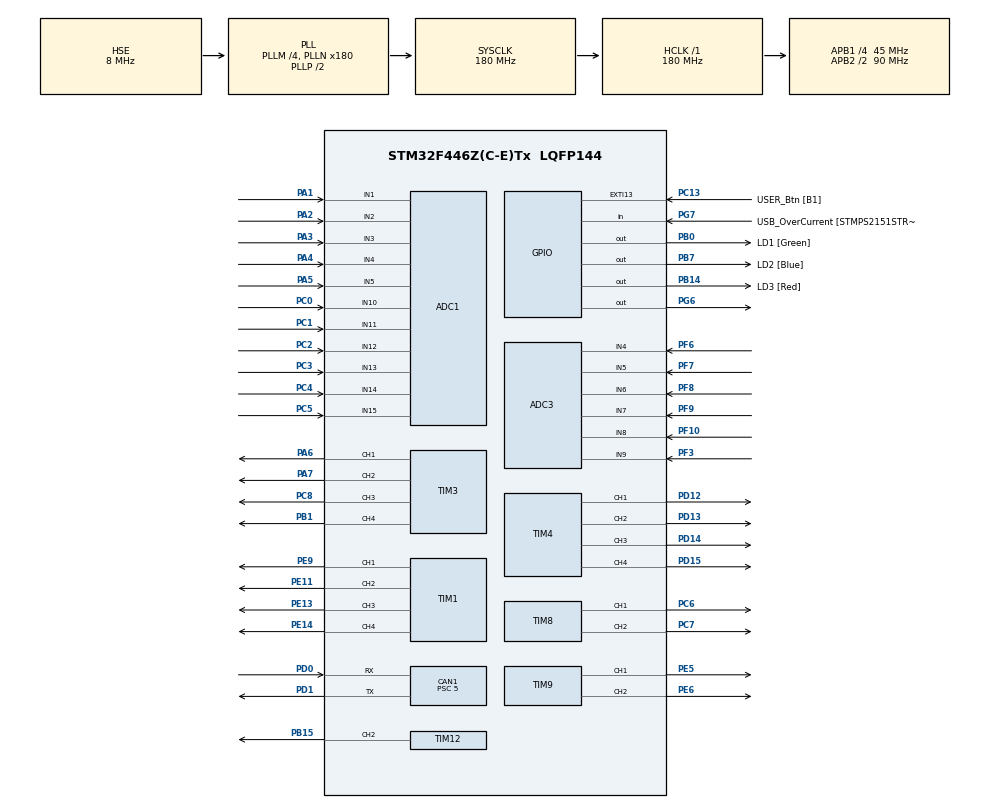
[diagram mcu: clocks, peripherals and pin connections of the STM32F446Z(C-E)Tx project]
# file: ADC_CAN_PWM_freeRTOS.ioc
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ADC1.Channel-1\#ChannelRegularConversion=ADC_CHANNEL_1
ADC1.Channel-10\#ChannelRegularConversion=ADC_CHANNEL_14
ADC1.Channel-11\#ChannelRegularConversion=ADC_CHANNEL_15
ADC1.Channel-2\#ChannelRegularConversion=ADC_CHANNEL_2
ADC1.Channel-3\#ChannelRegularConversion=ADC_CHANNEL_3
ADC1.Channel-4\#ChannelRegularConversion=ADC_CHANNEL_4
ADC1.Channel-5\#ChannelRegularConversion=ADC_CHANNEL_5
ADC1.Channel-6\#ChannelRegularConversion=ADC_CHANNEL_10
ADC1.Channel-7\#ChannelRegularConversion=ADC_CHANNEL_11
ADC1.Channel-8\#ChannelRegularConversion=ADC_CHANNEL_12
ADC1.Channel-9\#ChannelRegularConversion=ADC_CHANNEL_13
ADC1.ContinuousConvMode=ENABLE
ADC1.NbrOfConversion=11
ADC1.NbrOfConversionFlag=1
ADC1.Rank-1\#ChannelRegularConversion=1
ADC1.Rank-10\#ChannelRegularConversion=10
ADC1.Rank-11\#ChannelRegularConversion=11
ADC1.Rank-2\#ChannelRegularConversion=2
ADC1.Rank-3\#ChannelRegularConversion=3
ADC1.Rank-4\#ChannelRegularConversion=4
ADC1.Rank-5\#ChannelRegularConversion=5
ADC1.Rank-6\#ChannelRegularConversion=6
ADC1.Rank-7\#ChannelRegularConversion=7
ADC1.Rank-8\#ChannelRegularConversion=8
ADC1.Rank-9\#ChannelRegularConversion=9
ADC1.SamplingTime-1\#ChannelRegularConversion=ADC_SAMPLETIME_84CYCLES
ADC1.SamplingTime-10\#ChannelRegularConversion=ADC_SAMPLETIME_84CYCLES
ADC1.SamplingTime-11\#ChannelRegularConversion=ADC_SAMPLETIME_84CYCLES
ADC1.SamplingTime-2\#ChannelRegularConversion=ADC_SAMPLETIME_84CYCLES
ADC1.SamplingTime-3\#ChannelRegularConversion=ADC_SAMPLETIME_84CYCLES
ADC1.SamplingTime-4\#ChannelRegularConversion=ADC_SAMPLETIME_84CYCLES
ADC1.SamplingTime-5\#ChannelRegularConversion=ADC_SAMPLETIME_84CYCLES
ADC1.SamplingTime-6\#ChannelRegularConversion=ADC_SAMPLETIME_84CYCLES
ADC1.SamplingTime-7\#ChannelRegularConversion=ADC_SAMPLETIME_84CYCLES
ADC1.SamplingTime-8\#ChannelRegularConversion=ADC_SAMPLETIME_84CYCLES
ADC1.SamplingTime-9\#ChannelRegularConversion=ADC_SAMPLETIME_84CYCLES
ADC1.ScanConvMode=ENABLE
ADC1.master=1
ADC3.Channel-0\#ChannelRegularConversion=ADC_CHANNEL_4
ADC3.Channel-1\#ChannelRegularConversion=ADC_CHANNEL_5
ADC3.Channel-2\#ChannelRegularConversion=ADC_CHANNEL_6
ADC3.Channel-3\#ChannelRegularConversion=ADC_CHANNEL_7
ADC3.Channel-4\#ChannelRegularConversion=ADC_CHANNEL_8
ADC3.Channel-5\#ChannelRegularConversion=ADC_CHANNEL_9
ADC3.ContinuousConvMode=ENABLE
ADC3.NbrOfConversion=6
ADC3.NbrOfConversionFlag=1
ADC3.Rank-0\#ChannelRegularConversion=1
ADC3.Rank-1\#ChannelRegularConversion=2
ADC3.Rank-2\#ChannelRegularConversion=3
ADC3.Rank-3\#ChannelRegularConversion=4
ADC3.Rank-4\#ChannelRegularConversion=5
ADC3.Rank-5\#ChannelRegularConversion=6
ADC3.SamplingTime-0\#ChannelRegularConversion=ADC_SAMPLETIME_84CYCLES
ADC3.SamplingTime-1\#ChannelRegularConversion=ADC_SAMPLETIME_84CYCLES
ADC3.SamplingTime-2\#ChannelRegularConversion=ADC_SAMPLETIME_84CYCLES
ADC3.SamplingTime-3\#ChannelRegularConversion=ADC_SAMPLETIME_84CYCLES
ADC3.SamplingTime-4\#ChannelRegularConversion=ADC_SAMPLETIME_3CYCLES
ADC3.SamplingTime-5\#ChannelRegularConversion=ADC_SAMPLETIME_84CYCLES
ADC3.ScanConvMode=ENABLE
CAN1.ABOM=ENABLE
CAN1.BS1=CAN_BS1_15TQ
CAN1.BS2=CAN_BS2_2TQ
CAN1.CalculateBaudRate=500000
CAN1.CalculateTimeBit=2000
CAN1.CalculateTimeQuantum=111.11111111111111
CAN1.NART=ENABLE
CAN1.Prescaler=5
Mcu.Family=STM32F4
Mcu.Name=STM32F446Z(C-E)Tx
Mcu.Package=LQFP144
NVIC.CAN1_RX0_IRQn=true\:7\:0\:true\:false\:true\:true\:true\:true
NVIC.EXTI15_10_IRQn=true\:0\:0\:false\:false\:true\:true\:true\:true
NVIC.PriorityGroup=NVIC_PRIORITYGROUP_4
NVIC.TIM5_IRQn=true\:15\:0\:false\:false\:true\:false\:true\:true
NVIC.TimeBase=TIM5_IRQn
NVIC.TimeBaseIP=TIM5
PA1.Signal=ADCx_IN1
PA10.GPIO_Label=USB_ID
PA10.Signal=USB_OTG_FS_ID
PA11.GPIO_Label=USB_DM
PA11.Signal=USB_OTG_FS_DM
PA12.GPIO_Label=USB_DP
PA12.Signal=USB_OTG_FS_DP
PA13.GPIO_Label=TMS
PA13.Mode=Serial_Wire
PA13.Signal=SYS_JTMS-SWDIO
PA14.GPIO_Label=TCK
PA14.Mode=Serial_Wire
PA14.Signal=SYS_JTCK-SWCLK
PA2.Signal=ADCx_IN2
PA3.Signal=ADCx_IN3
PA4.Signal=ADCx_IN4
PA5.Signal=ADCx_IN5
PA6.Signal=S_TIM3_CH1
PA7.Signal=S_TIM3_CH2
PA8.GPIO_Label=USB_SOF [TP1]
PA8.Signal=USB_OTG_FS_SOF
PA9.GPIO_Label=USB_VBUS
PA9.Signal=USB_OTG_FS_VBUS
PB0.GPIO_Label=LD1 [Green]
PB0.Signal=GPIO_Output
PB1.Signal=S_TIM3_CH4
PB14.GPIO_Label=LD3 [Red]
PB14.Signal=GPIO_Output
PB15.Signal=S_TIM12_CH2
PB7.GPIO_Label=LD2 [Blue]
PB7.Signal=GPIO_Output
PC0.Signal=ADCx_IN10
PC1.Signal=ADCx_IN11
PC13.GPIO_Label=USER_Btn [B1]
PC13.Signal=GPXTI13
PC14-OSC32_IN.Signal=RCC_OSC32_IN
PC15-OSC32_OUT.Signal=RCC_OSC32_OUT
PC2.Signal=ADCx_IN12
PC3.Signal=ADCx_IN13
PC4.Signal=ADCx_IN14
PC5.Signal=ADCx_IN15
PC6.Signal=S_TIM8_CH1
PC7.Signal=S_TIM8_CH2
PC8.Signal=S_TIM3_CH3
PD0.GPIO_PuPd=GPIO_PULLUP
PD0.Mode=CAN_Activate
PD0.Signal=CAN1_RX
PD1.Mode=CAN_Activate
PD1.Signal=CAN1_TX
PD12.Signal=S_TIM4_CH1
PD13.Signal=S_TIM4_CH2
PD14.Signal=S_TIM4_CH3
PD15.Signal=S_TIM4_CH4
PD8.GPIO_Label=STLK_RX [STM32F103CBT6_PA3]
PD8.Signal=USART3_TX
PD9.GPIO_Label=STLK_TX [STM32F103CBT6_PA2]
PD9.Signal=USART3_RX
PE11.Signal=S_TIM1_CH2
PE13.Signal=S_TIM1_CH3
PE14.Signal=S_TIM1_CH4
PE5.Signal=S_TIM9_CH1
PE6.Signal=S_TIM9_CH2
PE9.Signal=S_TIM1_CH1
PF10.Mode=IN8
PF10.Signal=ADC3_IN8
PF3.Mode=IN9
PF3.Signal=ADC3_IN9
PF6.Mode=IN4
PF6.Signal=ADC3_IN4
PF7.Mode=IN5
PF7.Signal=ADC3_IN5
PF8.Mode=IN6
PF8.Signal=ADC3_IN6
PF9.Mode=IN7
PF9.Signal=ADC3_IN7
PG6.Signal=GPIO_Output
PG7.GPIO_Label=USB_OverCurrent [STMPS2151STR_FAULT]
PG7.Signal=GPIO_Input
PH0-OSC_IN.GPIO_Label=MCO [STM32F103CBT6_PA8]
PH0-OSC_IN.Mode=HSE-External-Oscillator
PH0-OSC_IN.Signal=RCC_OSC_IN
PH1-OSC_OUT.Mode=HSE-External-Oscillator
PH1-OSC_OUT.Signal=RCC_OSC_OUT
ProjectManager.HeapSize=0x200
ProjectManager.StackSize=0x400
ProjectManager.TargetToolchain=STM32CubeIDE
RCC.48MHZClocksFreq_Value=24000000
RCC.AHBFreq_Value=180000000
RCC.APB1CLKDivider=RCC_HCLK_DIV4
RCC.APB1Freq_Value=45000000
RCC.APB1TimFreq_Value=90000000
RCC.APB2CLKDivider=RCC_HCLK_DIV2
RCC.APB2Freq_Value=90000000
RCC.APB2TimFreq_Value=180000000
RCC.CortexFreq_Value=180000000
RCC.HCLKFreq_Value=180000000
RCC.HSE_VALUE=8000000
RCC.HSI_VALUE=16000000
RCC.LSE_VALUE=32768
RCC.PLLM=4
RCC.PLLMUL=RCC_PLL_MUL9
RCC.PLLN=180
RCC.PLLSourceVirtual=RCC_PLLSOURCE_HSE
RCC.PRESCALERUSB=RCC_USBCLKSOURCE_PLL_DIV1_5
RCC.SYSCLKFreq_VALUE=180000000
RCC.SYSCLKSource=RCC_SYSCLKSOURCE_PLLCLK
RCC.SYSCLKSourceVirtual=RCC_SYSCLKSOURCE_PLLCLK
RCC.USBFreq_Value=180000000
RCC.VCOOutputFreq_Value=360000000
SH.ADCx_IN1.0=ADC1_IN1,IN1
SH.ADCx_IN10.0=ADC1_IN10,IN10
SH.ADCx_IN11.0=ADC1_IN11,IN11
SH.ADCx_IN12.0=ADC1_IN12,IN12
SH.ADCx_IN13.0=ADC1_IN13,IN13
SH.ADCx_IN14.0=ADC1_IN14,IN14
SH.ADCx_IN15.0=ADC1_IN15,IN15
SH.ADCx_IN2.0=ADC1_IN2,IN2
SH.ADCx_IN3.0=ADC1_IN3,IN3
SH.ADCx_IN4.0=ADC1_IN4,IN4
SH.ADCx_IN5.0=ADC1_IN5,IN5
SH.S_TIM12_CH2.0=TIM12_CH2,PWM Generation2 CH2
SH.S_TIM1_CH1.0=TIM1_CH1,PWM Generation1 CH1
SH.S_TIM1_CH2.0=TIM1_CH2,PWM Generation2 CH2
SH.S_TIM1_CH3.0=TIM1_CH3,PWM Generation3 CH3
SH.S_TIM1_CH4.0=TIM1_CH4,PWM Generation4 CH4
SH.S_TIM3_CH1.0=TIM3_CH1,PWM Generation1 CH1
SH.S_TIM3_CH2.0=TIM3_CH2,PWM Generation2 CH2
SH.S_TIM3_CH3.0=TIM3_CH3,PWM Generation3 CH3
SH.S_TIM3_CH4.0=TIM3_CH4,PWM Generation4 CH4
SH.S_TIM4_CH1.0=TIM4_CH1,PWM Generation1 CH1
SH.S_TIM4_CH2.0=TIM4_CH2,PWM Generation2 CH2
SH.S_TIM4_CH3.0=TIM4_CH3,PWM Generation3 CH3
SH.S_TIM4_CH4.0=TIM4_CH4,PWM Generation4 CH4
SH.S_TIM8_CH1.0=TIM8_CH1,PWM Generation1 CH1
SH.S_TIM8_CH2.0=TIM8_CH2,PWM Generation2 CH2
SH.S_TIM9_CH1.0=TIM9_CH1,PWM Generation1 CH1
SH.S_TIM9_CH2.0=TIM9_CH2,PWM Generation2 CH2
TIM1.AutoReloadPreload=TIM_AUTORELOAD_PRELOAD_ENABLE
TIM1.Channel-PWM\ Generation1\ CH1=TIM_CHANNEL_1
TIM1.Channel-PWM\ Generation2\ CH2=TIM_CHANNEL_2
TIM1.Channel-PWM\ Generation3\ CH3=TIM_CHANNEL_3
TIM1.Channel-PWM\ Generation4\ CH4=TIM_CHANNEL_4
TIM1.TIM_MasterSlaveMode=TIM_MASTERSLAVEMODE_DISABLE
TIM12.Channel-PWM\ Generation2\ CH2=TIM_CHANNEL_2
TIM3.Channel-PWM\ Generation1\ CH1=TIM_CHANNEL_1
TIM3.Channel-PWM\ Generation2\ CH2=TIM_CHANNEL_2
TIM3.Channel-PWM\ Generation3\ CH3=TIM_CHANNEL_3
TIM3.Channel-PWM\ Generation4\ CH4=TIM_CHANNEL_4
TIM4.Channel-PWM\ Generation1\ CH1=TIM_CHANNEL_1
TIM4.Channel-PWM\ Generation2\ CH2=TIM_CHANNEL_2
TIM4.Channel-PWM\ Generation3\ CH3=TIM_CHANNEL_3
TIM4.Channel-PWM\ Generation4\ CH4=TIM_CHANNEL_4
TIM8.Channel-PWM\ Generation1\ CH1=TIM_CHANNEL_1
TIM8.Channel-PWM\ Generation2\ CH2=TIM_CHANNEL_2
TIM9.Channel-PWM\ Generation1\ CH1=TIM_CHANNEL_1
TIM9.Channel-PWM\ Generation2\ CH2=TIM_CHANNEL_2
VP_SYS_VS_tim5.Mode=TIM5
board=NUCLEO-F446ZE

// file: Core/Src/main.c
/* USER CODE BEGIN Header */
/**
  ******************************************************************************
  * @file           : main.c
  * @brief          : Main program body
  ******************************************************************************
  * @attention
  *
  * Copyright (c) 2023 STMicroelectronics.
  * All rights reserved.
  *
  * This software is licensed under terms that can be found in the LICENSE file
  * in the root directory of this software component.
  * If no LICENSE file comes with this software, it is provided AS-IS.
  *
  ******************************************************************************
  */
/* USER CODE END Header */
#include "main.h"

/* USER CODE BEGIN Includes */
#include <stdio.h>
#include "FreeRTOS.h"
#include "task.h"
/* USER CODE END Includes */

ADC_HandleTypeDef hadc1;
ADC_HandleTypeDef hadc3;

CAN_HandleTypeDef hcan1;

TIM_HandleTypeDef htim1;
TIM_HandleTypeDef htim3;
TIM_HandleTypeDef htim4;
TIM_HandleTypeDef htim8;
TIM_HandleTypeDef htim9;
TIM_HandleTypeDef htim12;

void SystemClock_Config(void);
static void MX_GPIO_Init(void);
static void MX_ADC1_Init(void);
static void MX_ADC3_Init(void);
static void MX_CAN1_Init(void);
static void MX_TIM1_Init(void);
static void MX_TIM3_Init(void);
static void MX_TIM4_Init(void);
static void MX_TIM8_Init(void);
static void MX_TIM9_Init(void);
static void MX_TIM12_Init(void);
/* USER CODE BEGIN PFP */
static void ADC_Task(void* parameter);
static void task1_handler(void* parameters);
static void LED_Task(void* parameters);
/* USER CODE END PFP */

/* USER CODE BEGIN 0 */

TaskHandle_t ADC_Handle;

uint16_t ADC_VAL[21];

float Voltage;

CAN_TxHeaderTypeDef TxHeader;
CAN_RxHeaderTypeDef RxHeader;

uint8_t TxData[8];
uint8_t RxData[8];

uint32_t TxMailbox;

int datacheck = 0;

uint8_t receivedopertion = 0;
uint8_t receivedID = 0;
TaskHandle_t ledHandle;

void HAL_GPIO_EXTI_Callback(uint16_t GPIO_Pin)
{
	printf("button pressed\n");
	if(GPIO_Pin == USER_Btn_Pin)
	{
		TxData[0]=250;
		TxData[1]=10;

		if(HAL_CAN_AddTxMessage(&hcan1, &TxHeader, TxData, &TxMailbox) != HAL_OK)
		{
			printf("msg NOT sent \n into the error_handler\n");
		    Error_Handler();
		}
		  HAL_GPIO_TogglePin(LD1_GPIO_Port, LD1_Pin);
		  HAL_GPIO_TogglePin(LD2_GPIO_Port, LD2_Pin);
		  HAL_GPIO_TogglePin(LD3_GPIO_Port, LD3_Pin);
		printf("msg sent\n");
	}
}

static void task1_handler(void* parameters)
{
    while (1)
    {
        if (HAL_GPIO_ReadPin(USER_Btn_GPIO_Port, USER_Btn_Pin) != GPIO_PIN_RESET)
        {
            HAL_GPIO_EXTI_Callback(USER_Btn_Pin);
        }
        vTaskDelay(pdMS_TO_TICKS(100)); // Delay the task for 100 milliseconds
    	taskYIELD();
    }
}

void HAL_CAN_RxFifo0MsgPendingCallback(CAN_HandleTypeDef *hcan)
{

    HAL_CAN_GetRxMessage(&hcan1, CAN_RX_FIFO0, &RxHeader, RxData);

    if (RxHeader.DLC == 8)
    {
    	receivedopertion = RxData[0];
    	receivedID = RxData[1];
    	BaseType_t xHigherPriorityTaskWoken = pdFALSE;
    	xTaskNotifyFromISR(ledHandle, 0, eNoAction, &xHigherPriorityTaskWoken);
    	portYIELD_FROM_ISR(xHigherPriorityTaskWoken);
    }
}

static void LED_Task(void* parameters)
{
    while (1)
    {
        ulTaskNotifyTake(pdTRUE, portMAX_DELAY);  // Wait for a notification

        printf("Task notified\n");

//      // Toggle LEDs based on receivedBlinkCount and receivedDelay
//        for (int i = 0; i < receivedBlinkCount; i++)
//        {
//            printf("Rxdata %d, %d\n", receivedDelay, receivedBlinkCount);
//            HAL_GPIO_TogglePin(LD1_GPIO_Port, LD1_Pin);
//            HAL_GPIO_TogglePin(LD2_GPIO_Port, LD2_Pin);
//            HAL_GPIO_TogglePin(LD3_GPIO_Port, LD3_Pin);
//            vTaskDelay(pdMS_TO_TICKS(receivedDelay));
//        }
        if(RxData[0] == 0x01)
        {
        	TxData[0] = 0;
        	TxData[1] = 0;
        	TxData[2] = (uint8_t) TIM1->CCR1;
        	TxData[3] = 0;
        	TxData[4] = 0;
        	TxData[5] = 0;
        	TxData[6] = 0x81;
        	TxData[7] = 0;
        	if(HAL_CAN_AddTxMessage(&hcan1, &TxHeader, TxData, &TxMailbox) != HAL_OK)
        	{
        		printf("msg NOT sent \n into the error_handler\n");
        		Error_Handler();
        	}
        	printf("Read req from CAN BUS (%d, %d, %d, %d, %d, %d, %d, %d)\n",TxData[0],TxData[1],TxData[2],TxData[3],TxData[4],TxData[5],TxData[6],TxData[7]);
        }

        else if (RxData[0] == 0x02)
        {
        	TxData[0] = RxData[0];
        	TxData[1] = RxData[1];
        	TxData[2] = RxData[2];
        	TxData[3] = RxData[3];
        	TxData[4] = RxData[4];
        	TxData[5] = RxData[5];
        	TxData[6] = 0x82;
        	TxData[7] = RxData[7];

        	printf("Write req from CAN BUS (%d, %d, %d, %d, %d, %d, %d, %d)\n",TxData[0],TxData[1],TxData[2],TxData[3],TxData[4],TxData[5],TxData[6],TxData[7]);

        	if(HAL_CAN_AddTxMessage(&hcan1, &TxHeader, TxData, &TxMailbox) != HAL_OK)
        	{
        		printf("msg NOT sent \n into the error_handler\n");
        		Error_Handler();
        	}
        }
        else
        {
        	printf("Operation does not match \n");
        }

    }
}

void CH_Select1(void)
{
	ADC_ChannelConfTypeDef sConfig = {0};
	  sConfig.Channel = ADC_CHANNEL_1;
	  sConfig.Rank = 1;
	  sConfig.SamplingTime = ADC_SAMPLETIME_84CYCLES;
    if (HAL_ADC_ConfigChannel(&hadc1, &sConfig) != HAL_OK)
    {
       Error_Handler();
    }
}
void CH_Select2(void)
{
	ADC_ChannelConfTypeDef sConfig = {0};
	  sConfig.Channel = ADC_CHANNEL_2;
	  sConfig.Rank = 1;
    if (HAL_ADC_ConfigChannel(&hadc1, &sConfig) != HAL_OK)
    {
       Error_Handler();
    }
}
void CH_Select3(void)
{
	ADC_ChannelConfTypeDef sConfig = {0};
	  sConfig.Channel = ADC_CHANNEL_3;
	  sConfig.Rank = 1;
    if (HAL_ADC_ConfigChannel(&hadc1, &sConfig) != HAL_OK)
    {
       Error_Handler();
    }
}
void CH_Select4(void)
{
	ADC_ChannelConfTypeDef sConfig = {0};
	  sConfig.Channel = ADC_CHANNEL_4;
	  sConfig.Rank = 1;
    if (HAL_ADC_ConfigChannel(&hadc1, &sConfig) != HAL_OK)
    {
       Error_Handler();
    }
}
void CH_Select5(void)
{
	ADC_ChannelConfTypeDef sConfig = {0};
	  sConfig.Channel = ADC_CHANNEL_5;
	  sConfig.Rank = 1;
    if (HAL_ADC_ConfigChannel(&hadc1, &sConfig) != HAL_OK)
    {
       Error_Handler();
    }
}
void CH_Select6(void)
{
	ADC_ChannelConfTypeDef sConfig = {0};
	  sConfig.Channel = ADC_CHANNEL_10;
	  sConfig.Rank = 1;
    if (HAL_ADC_ConfigChannel(&hadc1, &sConfig) != HAL_OK)
    {
       Error_Handler();
    }
}
void CH_Select7(void)
{
	ADC_ChannelConfTypeDef sConfig = {0};
	  sConfig.Channel = ADC_CHANNEL_11;
	  sConfig.Rank = 1;
    if (HAL_ADC_ConfigChannel(&hadc1, &sConfig) != HAL_OK)
    {
       Error_Handler();
    }
}
void CH_Select8(void)
{
	ADC_ChannelConfTypeDef sConfig = {0};
	sConfig.Channel = ADC_CHANNEL_12;
	  sConfig.Rank = 1;
    if (HAL_ADC_ConfigChannel(&hadc1, &sConfig) != HAL_OK)
    {
       Error_Handler();
    }
}
void CH_Select9(void)
{
	ADC_ChannelConfTypeDef sConfig = {0};
	  sConfig.Channel = ADC_CHANNEL_13;
	  sConfig.Rank = 1;
    if (HAL_ADC_ConfigChannel(&hadc1, &sConfig) != HAL_OK)
    {
       Error_Handler();
    }
}
void CH_Select10(void)
{
	ADC_ChannelConfTypeDef sConfig = {0};
	sConfig.Channel = ADC_CHANNEL_14;
	  sConfig.Rank = 1;
    if (HAL_ADC_ConfigChannel(&hadc1, &sConfig) != HAL_OK)
    {
       Error_Handler();
    }
}
void CH_Select11(void)
{
	ADC_ChannelConfTypeDef sConfig = {0};
	sConfig.Channel = ADC_CHANNEL_15;
		  sConfig.Rank = 1;
    if (HAL_ADC_ConfigChannel(&hadc1, &sConfig) != HAL_OK)
    {
       Error_Handler();
    }
}
void CH_Select12(void)
{
	ADC_ChannelConfTypeDef sConfig = {0};
	  sConfig.Channel = ADC_CHANNEL_4;
	  sConfig.Rank = 2;
	  sConfig.SamplingTime = ADC_SAMPLETIME_84CYCLES;
    if (HAL_ADC_ConfigChannel(&hadc3, &sConfig) != HAL_OK)
    {
       Error_Handler();
    }
}
void CH_Select13(void)
{
	ADC_ChannelConfTypeDef sConfig = {0};
	sConfig.Channel = ADC_CHANNEL_5;
	  sConfig.Rank = 2;

    if (HAL_ADC_ConfigChannel(&hadc3, &sConfig) != HAL_OK)
    {
       Error_Handler();
    }
}
void CH_Select14(void)
{
	ADC_ChannelConfTypeDef sConfig = {0};
	  sConfig.Channel = ADC_CHANNEL_6;
	  sConfig.Rank = 2;
    if (HAL_ADC_ConfigChannel(&hadc3, &sConfig) != HAL_OK)
    {
       Error_Handler();
    }
}
void CH_Select15(void)
{
	ADC_ChannelConfTypeDef sConfig = {0};
	sConfig.Channel = ADC_CHANNEL_7;
	  sConfig.Rank = 2;
    if (HAL_ADC_ConfigChannel(&hadc3, &sConfig) != HAL_OK)
    {
       Error_Handler();
    }
}
void CH_Select16(void)
{
	ADC_ChannelConfTypeDef sConfig = {0};
	 sConfig.Channel = ADC_CHANNEL_8;
	  sConfig.Rank = 2;
    if (HAL_ADC_ConfigChannel(&hadc3, &sConfig) != HAL_OK)
    {
       Error_Handler();
    }
}
void CH_Select17(void)
{
	ADC_ChannelConfTypeDef sConfig = {0};
	sConfig.Channel = ADC_CHANNEL_9;
	  sConfig.Rank = 2;
    if (HAL_ADC_ConfigChannel(&hadc3, &sConfig) != HAL_OK)
    {
       Error_Handler();
    }
}
//void CH_Select18(void)
//{
//	ADC_ChannelConfTypeDef sConfig = {0};
//    sConfig.Channel = ADC_CHANNEL_5;
//    sConfig.Rank = 2;
//    sConfig.SamplingTime = ADC_SAMPLETIME_84CYCLES;
//    if (HAL_ADC_ConfigChannel(&hadc3, &sConfig) != HAL_OK)
//    {
//       Error_Handler();
//    }
//}
//void CH_Select19(void)
//{
//	ADC_ChannelConfTypeDef sConfig = {0};
//    sConfig.Channel = ADC_CHANNEL_6;
//    sConfig.Rank = 2;
//    sConfig.SamplingTime = ADC_SAMPLETIME_84CYCLES;
//    if (HAL_ADC_ConfigChannel(&hadc3, &sConfig) != HAL_OK)
//    {
//       Error_Handler();
//    }
//}
//void CH_Select20(void)
//{
//	ADC_ChannelConfTypeDef sConfig = {0};
//    sConfig.Channel = ADC_CHANNEL_7;
//    sConfig.Rank = 2;
//    sConfig.SamplingTime = ADC_SAMPLETIME_84CYCLES;
//    if (HAL_ADC_ConfigChannel(&hadc3, &sConfig) != HAL_OK)
//    {
//       Error_Handler();
//    }
//}
//void CH_Select21(void)
//{
//	ADC_ChannelConfTypeDef sConfig = {0};
//    sConfig.Channel = ADC_CHANNEL_8;
//    sConfig.Rank = 2;
//    sConfig.SamplingTime = ADC_SAMPLETIME_84CYCLES;
//    if (HAL_ADC_ConfigChannel(&hadc3, &sConfig) != HAL_OK)
//    {
//       Error_Handler();
//    }
//}
//

static void ADC_Task(void* parameter)
{
	while(1)
	{
        CH_Select1();
        HAL_ADC_Start(&hadc1);
	 	HAL_ADC_PollForConversion(&hadc1,1000);
	 	ADC_VAL[0]=HAL_ADC_GetValue(&hadc1);
	 	vTaskDelay(pdMS_TO_TICKS(50));
	 	HAL_ADC_Stop(&hadc1);
	 	Voltage=(float)(ADC_VAL[0]*3.3)/4095;
	 	TIM1->CCR1=ADC_VAL[0];
	 	//vTaskDelay(pdMS_TO_TICKS(100));

        CH_Select2();
        HAL_ADC_Start(&hadc1);
	 	HAL_ADC_PollForConversion(&hadc1,10);
	 	ADC_VAL[1]=HAL_ADC_GetValue(&hadc1);
	 	vTaskDelay(pdMS_TO_TICKS(50));
	 	HAL_ADC_Stop(&hadc1);
	 	Voltage=(float)(ADC_VAL[1]*3.3)/4095;
	 	TIM1->CCR2=ADC_VAL[1];
	 	//vTaskDelay(pdMS_TO_TICKS(100));

        CH_Select3();
        HAL_ADC_Start(&hadc1);
	 	HAL_ADC_PollForConversion(&hadc1,10);
	 	ADC_VAL[2]=HAL_ADC_GetValue(&hadc1);
	 	vTaskDelay(pdMS_TO_TICKS(50));
	 	HAL_ADC_Stop(&hadc1);
	 	Voltage=(float)(ADC_VAL[2]*3.3)/4095;
	 	TIM1->CCR3=ADC_VAL[2];
	 	//vTaskDelay(pdMS_TO_TICKS(100));

        CH_Select4();
        HAL_ADC_Start(&hadc1);
	 	HAL_ADC_PollForConversion(&hadc1,10);
	 	ADC_VAL[3]=HAL_ADC_GetValue(&hadc1);
	 	vTaskDelay(pdMS_TO_TICKS(50));
	 	HAL_ADC_Stop(&hadc1);
	 	Voltage=(float)(ADC_VAL[3]*3.3)/4095;
	 	TIM1->CCR4=ADC_VAL[3];
	 	//vTaskDelay(pdMS_TO_TICKS(100));

        CH_Select5();
        HAL_ADC_Start(&hadc1);
        HAL_ADC_PollForConversion(&hadc1,10);
        ADC_VAL[4]=HAL_ADC_GetValue(&hadc1);
        vTaskDelay(pdMS_TO_TICKS(50));
        HAL_ADC_Stop(&hadc1);
        Voltage=(float)(ADC_VAL[4]*3.3)/4095;
        TIM3->CCR1=ADC_VAL[4];
	 	//vTaskDelay(pdMS_TO_TICKS(100));

	 	CH_Select6();
	 	HAL_ADC_Start(&hadc1);
	 	HAL_ADC_PollForConversion(&hadc1,10);
	 	ADC_VAL[5]=HAL_ADC_GetValue(&hadc1);
	 	vTaskDelay(pdMS_TO_TICKS(50));
	 	HAL_ADC_Stop(&hadc1);
	 	Voltage=(float)(ADC_VAL[5]*3.3)/4095;
	 	TIM3->CCR2=ADC_VAL[5];
        //vTaskDelay(pdMS_TO_TICKS(100));

        CH_Select7();
        HAL_ADC_Start(&hadc1);
        HAL_ADC_PollForConversion(&hadc1,10);
        ADC_VAL[6]=HAL_ADC_GetValue(&hadc1);
        vTaskDelay(pdMS_TO_TICKS(50));
        HAL_ADC_Stop(&hadc1);
        Voltage=(float)(ADC_VAL[6]*3.3)/4095;
        TIM3->CCR3=ADC_VAL[6];
	 	//vTaskDelay(pdMS_TO_TICKS(100));

        CH_Select8();
        HAL_ADC_Start(&hadc1);
	 	HAL_ADC_PollForConversion(&hadc1,10);
	 	ADC_VAL[7]=HAL_ADC_GetValue(&hadc1);
	 	vTaskDelay(pdMS_TO_TICKS(50));
	 	HAL_ADC_Stop(&hadc1);
	 	Voltage=(float)(ADC_VAL[7]*3.3)/4095;
	 	TIM3->CCR4=ADC_VAL[7];
	 	//vTaskDelay(pdMS_TO_TICKS(100));

        CH_Select9();
        HAL_ADC_Start(&hadc1);
	 	HAL_ADC_PollForConversion(&hadc1,10);
	 	ADC_VAL[8]=HAL_ADC_GetValue(&hadc1);
	 	vTaskDelay(pdMS_TO_TICKS(50));
	 	HAL_ADC_Stop(&hadc1);
	 	Voltage=(float)(ADC_VAL[8]*3.3)/4095;
	 	TIM4->CCR1=ADC_VAL[8];
	 	//vTaskDelay(pdMS_TO_TICKS(100));

        CH_Select10();
        HAL_ADC_Start(&hadc1);
	 	HAL_ADC_PollForConversion(&hadc1,10);
	 	ADC_VAL[9]=HAL_ADC_GetValue(&hadc1);
	 	vTaskDelay(pdMS_TO_TICKS(50));
	 	HAL_ADC_Stop(&hadc1);
	 	Voltage=(float)(ADC_VAL[9]*3.3)/4095;
	 	TIM4->CCR2=ADC_VAL[9];
	 	//vTaskDelay(pdMS_TO_TICKS(100));

        CH_Select11();
        HAL_ADC_Start(&hadc1);
		HAL_ADC_PollForConversion(&hadc1,10);
		ADC_VAL[10]=HAL_ADC_GetValue(&hadc1);
		vTaskDelay(pdMS_TO_TICKS(50));
		HAL_ADC_Stop(&hadc1);
		Voltage=(float)(ADC_VAL[10]*3.3)/4095;
	 	TIM4->CCR3=ADC_VAL[10];
	 	//vTaskDelay(pdMS_TO_TICKS(100));

        CH_Select12();
        HAL_ADC_Start(&hadc1);
	 	HAL_ADC_PollForConversion(&hadc1,10);
	 	ADC_VAL[11]=HAL_ADC_GetValue(&hadc1);
	 	vTaskDelay(pdMS_TO_TICKS(50));
	 	HAL_ADC_Stop(&hadc1);
	 	Voltage=(float)(ADC_VAL[11]*3.3)/4095;
	 	TIM4->CCR4=ADC_VAL[11];
	 	//vTaskDelay(pdMS_TO_TICKS(100));

        CH_Select13();
        HAL_ADC_Start(&hadc1);
	 	HAL_ADC_PollForConversion(&hadc1,10);
	 	ADC_VAL[12]=HAL_ADC_GetValue(&hadc1);
	 	vTaskDelay(pdMS_TO_TICKS(50));
	 	HAL_ADC_Stop(&hadc1);
	 	Voltage=(float)(ADC_VAL[12]*3.3)/4095;
	 	TIM8->CCR1=ADC_VAL[12];
	 	//vTaskDelay(pdMS_TO_TICKS(100));

        CH_Select14();
        HAL_ADC_Start(&hadc3);
	 	HAL_ADC_PollForConversion(&hadc3,10);
	 	ADC_VAL[13]=HAL_ADC_GetValue(&hadc3);
	 	vTaskDelay(pdMS_TO_TICKS(50));
	 	HAL_ADC_Stop(&hadc3);
	 	Voltage=(float)(ADC_VAL[13]*3.3)/4095;
	 	TIM8->CCR2=ADC_VAL[13];
	 	//vTaskDelay(pdMS_TO_TICKS(100));

        CH_Select15();
        HAL_ADC_Start(&hadc3);
	 	HAL_ADC_PollForConversion(&hadc3,10);
	 	ADC_VAL[14]=HAL_ADC_GetValue(&hadc3);
	 	vTaskDelay(pdMS_TO_TICKS(50));
	 	HAL_ADC_Stop(&hadc3);
	 	Voltage=(float)(ADC_VAL[14]*3.3)/4095;
	 	TIM9->CCR1=ADC_VAL[14];
	 	//vTaskDelay(pdMS_TO_TICKS(100));

        CH_Select16();
        HAL_ADC_Start(&hadc3);
	 	HAL_ADC_PollForConversion(&hadc3,1000);
	 	ADC_VAL[15]=HAL_ADC_GetValue(&hadc3);
	 	vTaskDelay(pdMS_TO_TICKS(50));
	 	HAL_ADC_Stop(&hadc3);
	 	Voltage=(float)(ADC_VAL[15]*3.3)/4095;
	 	TIM9->CCR2=ADC_VAL[15];
	 	//vTaskDelay(pdMS_TO_TICKS(100));

        CH_Select17();
        HAL_ADC_Start(&hadc3);
	 	HAL_ADC_PollForConversion(&hadc3,10);
	 	ADC_VAL[16]=HAL_ADC_GetValue(&hadc3);
	 	vTaskDelay(pdMS_TO_TICKS(50));
	 	HAL_ADC_Stop(&hadc3);
	 	Voltage=(float)(ADC_VAL[16]*3.3)/4095;
	 	TIM12->CCR2=ADC_VAL[16];
	 	//vTaskDelay(pdMS_TO_TICKS(100));
//
//        CH_Select18();
//        HAL_ADC_Start(&hadc3);
//	 	HAL_ADC_PollForConversion(&hadc3,10);
//	 	ADC_VAL[17]=HAL_ADC_GetValue(&hadc3);
//	 	vTaskDelay(pdMS_TO_TICKS(50));
//	 	HAL_ADC_Stop(&hadc3);
//	 	Voltage=(float)(ADC_VAL[17]*3.3)/4095;
//	 	//vTaskDelay(pdMS_TO_TICKS(100));
//
//	 	CH_Select19();
//		HAL_ADC_Start(&hadc3);
//		HAL_ADC_PollForConversion(&hadc3,10);
//		ADC_VAL[18]=HAL_ADC_GetValue(&hadc3);
//		vTaskDelay(pdMS_TO_TICKS(50));
//		HAL_ADC_Stop(&hadc3);
//		Voltage=(float)(ADC_VAL[18]*3.3)/4095;
//
//        CH_Select20();
//        HAL_ADC_Start(&hadc3);
//	 	HAL_ADC_PollForConversion(&hadc3,10);
//	 	ADC_VAL[19]=HAL_ADC_GetValue(&hadc3);
//	 	vTaskDelay(pdMS_TO_TICKS(50));
//	 	HAL_ADC_Stop(&hadc3);
//	 	Voltage=(float)(ADC_VAL[19]*3.3)/4095;
//
//        CH_Select21();
//        HAL_ADC_Start(&hadc3);
//	 	HAL_ADC_PollForConversion(&hadc3,10);
//	 	ADC_VAL[20]=HAL_ADC_GetValue(&hadc3);
//	 	vTaskDelay(pdMS_TO_TICKS(50));
//	 	HAL_ADC_Stop(&hadc3);
//	 	Voltage=(float)(ADC_VAL[20]*3.3)/4095;
//	 	vTaskDelay(pdMS_TO_TICKS(100));
	}
}

/* USER CODE END 0 */

int main(void)
{
  /* USER CODE BEGIN 1 */

	BaseType_t status;

	TaskHandle_t task1_handle;

  /* USER CODE END 1 */

  /* MCU Configuration--------------------------------------------------------*/

  /* Reset of all peripherals, Initializes the Flash interface and the Systick. */
  HAL_Init();

  /* Configure the system clock */
  SystemClock_Config();

  /* Initialize all configured peripherals */
  MX_GPIO_Init();
  MX_ADC1_Init();
  MX_ADC3_Init();
  MX_CAN1_Init();
  MX_TIM1_Init();
  MX_TIM3_Init();
  MX_TIM4_Init();
  MX_TIM8_Init();
  MX_TIM9_Init();
  MX_TIM12_Init();
  /* USER CODE BEGIN 2 */

  HAL_TIM_PWM_Start(&htim1,TIM_CHANNEL_1);
  TIM1->CCR1=ADC_VAL[0];
  HAL_TIM_PWM_Start(&htim1,TIM_CHANNEL_2);
  TIM1->CCR2=ADC_VAL[1];
  HAL_TIM_PWM_Start(&htim1,TIM_CHANNEL_3);
  TIM1->CCR3=ADC_VAL[2];
  HAL_TIM_PWM_Start(&htim1,TIM_CHANNEL_4);
  TIM1->CCR4=ADC_VAL[3];
  /*       __________________________________________________________________     */

  HAL_TIM_PWM_Start(&htim3,TIM_CHANNEL_1);
  TIM3->CCR1=ADC_VAL[4];
  HAL_TIM_PWM_Start(&htim3,TIM_CHANNEL_2);
  TIM3->CCR2=ADC_VAL[5];
  HAL_TIM_PWM_Start(&htim3,TIM_CHANNEL_3);
  TIM3->CCR3=ADC_VAL[6];
  HAL_TIM_PWM_Start(&htim3,TIM_CHANNEL_4);
  TIM3->CCR4=ADC_VAL[7];
  /*       __________________________________________________________________     */

  HAL_TIM_PWM_Start(&htim4,TIM_CHANNEL_1);
  TIM4->CCR1=ADC_VAL[8];
  HAL_TIM_PWM_Start(&htim4,TIM_CHANNEL_2);
  TIM4->CCR2=ADC_VAL[9];
  HAL_TIM_PWM_Start(&htim4,TIM_CHANNEL_3);
  TIM4->CCR3=ADC_VAL[10];
  HAL_TIM_PWM_Start(&htim4,TIM_CHANNEL_4);
  TIM4->CCR4=ADC_VAL[11];
  /*       __________________________________________________________________     */

  HAL_TIM_PWM_Start(&htim8,TIM_CHANNEL_1);
  TIM8->CCR1=ADC_VAL[12];
  HAL_TIM_PWM_Start(&htim8,TIM_CHANNEL_2);
  TIM8->CCR2=ADC_VAL[13];
  /*       __________________________________________________________________     */
  HAL_TIM_PWM_Start(&htim9,TIM_CHANNEL_1);
  TIM9->CCR1=ADC_VAL[14];
  HAL_TIM_PWM_Start(&htim9,TIM_CHANNEL_2);
  TIM9->CCR2=ADC_VAL[15];
  HAL_TIM_PWM_Start(&htim12,TIM_CHANNEL_2);
  TIM12->CCR2=ADC_VAL[16];

  if(HAL_CAN_Start(&hcan1) != HAL_OK)
  {
	  Error_Handler();
  }

  if(HAL_CAN_ActivateNotification(&hcan1, CAN_IT_RX_FIFO0_MSG_PENDING) != HAL_OK)
  {
	  Error_Handler();
  }

  TxHeader.DLC = 8;
  TxHeader.IDE = CAN_ID_STD;
  TxHeader.RTR = CAN_RTR_DATA;
  TxHeader.StdId = 0x446;

  status = xTaskCreate(ADC_Task, "Task-ADC", 200, NULL, 2, &ADC_Handle);

  configASSERT(status == pdPASS);

  status = xTaskCreate(task1_handler, "Task-1", 200, NULL, 2, &task1_handle);

  configASSERT(status == pdPASS);

  status = xTaskCreate(LED_Task, "LED_Task", 200, NULL, 2, &ledHandle);

  configASSERT(status == pdPASS);

  vTaskStartScheduler();

  /* USER CODE END 2 */

  /* Infinite loop */
  while (1)
  {

  }
}

void SystemClock_Config(void)
{
  RCC_OscInitTypeDef RCC_OscInitStruct = {0};
  RCC_ClkInitTypeDef RCC_ClkInitStruct = {0};

  /** Configure the main internal regulator output voltage
  */
  __HAL_RCC_PWR_CLK_ENABLE();
  __HAL_PWR_VOLTAGESCALING_CONFIG(PWR_REGULATOR_VOLTAGE_SCALE1);

  /** Initializes the RCC Oscillators according to the specified parameters
  * in the RCC_OscInitTypeDef structure.
  */
  RCC_OscInitStruct.OscillatorType = RCC_OSCILLATORTYPE_HSE;
  RCC_OscInitStruct.HSEState = RCC_HSE_ON;
  RCC_OscInitStruct.PLL.PLLState = RCC_PLL_ON;
  RCC_OscInitStruct.PLL.PLLSource = RCC_PLLSOURCE_HSE;
  RCC_OscInitStruct.PLL.PLLM = 4;
  RCC_OscInitStruct.PLL.PLLN = 180;
  RCC_OscInitStruct.PLL.PLLP = RCC_PLLP_DIV2;
  RCC_OscInitStruct.PLL.PLLQ = 2;
  RCC_OscInitStruct.PLL.PLLR = 2;
  if (HAL_RCC_OscConfig(&RCC_OscInitStruct) != HAL_OK)
  {
    Error_Handler();
  }

  /** Activate the Over-Drive mode
  */
  if (HAL_PWREx_EnableOverDrive() != HAL_OK)
  {
    Error_Handler();
  }

  /** Initializes the CPU, AHB and APB buses clocks
  */
  RCC_ClkInitStruct.ClockType = RCC_CLOCKTYPE_HCLK|RCC_CLOCKTYPE_SYSCLK
                              |RCC_CLOCKTYPE_PCLK1|RCC_CLOCKTYPE_PCLK2;
  RCC_ClkInitStruct.SYSCLKSource = RCC_SYSCLKSOURCE_PLLCLK;
  RCC_ClkInitStruct.AHBCLKDivider = RCC_SYSCLK_DIV1;
  RCC_ClkInitStruct.APB1CLKDivider = RCC_HCLK_DIV4;
  RCC_ClkInitStruct.APB2CLKDivider = RCC_HCLK_DIV2;

  if (HAL_RCC_ClockConfig(&RCC_ClkInitStruct, FLASH_LATENCY_5) != HAL_OK)
  {
    Error_Handler();
  }
}

static void MX_ADC1_Init(void)
{

  ADC_ChannelConfTypeDef sConfig = {0};

  /** Configure the global features of the ADC (Clock, Resolution, Data Alignment and number of conversion)
  */
  hadc1.Instance = ADC1;
  hadc1.Init.ClockPrescaler = ADC_CLOCK_SYNC_PCLK_DIV4;
  hadc1.Init.Resolution = ADC_RESOLUTION_12B;
  hadc1.Init.ScanConvMode = ENABLE;
  hadc1.Init.ContinuousConvMode = ENABLE;
  hadc1.Init.DiscontinuousConvMode = DISABLE;
  hadc1.Init.ExternalTrigConvEdge = ADC_EXTERNALTRIGCONVEDGE_NONE;
  hadc1.Init.ExternalTrigConv = ADC_SOFTWARE_START;
  hadc1.Init.DataAlign = ADC_DATAALIGN_RIGHT;
  hadc1.Init.NbrOfConversion = 11;
  hadc1.Init.DMAContinuousRequests = DISABLE;
  hadc1.Init.EOCSelection = ADC_EOC_SINGLE_CONV;
  if (HAL_ADC_Init(&hadc1) != HAL_OK)
  {
    Error_Handler();
  }

  /** Configure for the selected ADC regular channel its corresponding rank in the sequencer and its sample time.
  */
//  sConfig.Channel = ADC_CHANNEL_1;
//  sConfig.Rank = 1;
//  sConfig.SamplingTime = ADC_SAMPLETIME_84CYCLES;
//  if (HAL_ADC_ConfigChannel(&hadc1, &sConfig) != HAL_OK)
//  {
//    Error_Handler();
//  }
//
//  /** Configure for the selected ADC regular channel its corresponding rank in the sequencer and its sample time.
//  */
//  sConfig.Channel = ADC_CHANNEL_2;
//  sConfig.Rank = 2;
//  if (HAL_ADC_ConfigChannel(&hadc1, &sConfig) != HAL_OK)
//  {
//    Error_Handler();
//  }
//
//  /** Configure for the selected ADC regular channel its corresponding rank in the sequencer and its sample time.
//  */
//  sConfig.Channel = ADC_CHANNEL_3;
//  sConfig.Rank = 3;
//  if (HAL_ADC_ConfigChannel(&hadc1, &sConfig) != HAL_OK)
//  {
//    Error_Handler();
//  }
//
//  /** Configure for the selected ADC regular channel its corresponding rank in the sequencer and its sample time.
//  */
//  sConfig.Channel = ADC_CHANNEL_4;
//  sConfig.Rank = 4;
//  if (HAL_ADC_ConfigChannel(&hadc1, &sConfig) != HAL_OK)
//  {
//    Error_Handler();
//  }
//
//  /** Configure for the selected ADC regular channel its corresponding rank in the sequencer and its sample time.
//  */
//  sConfig.Channel = ADC_CHANNEL_5;
//  sConfig.Rank = 5;
//  if (HAL_ADC_ConfigChannel(&hadc1, &sConfig) != HAL_OK)
//  {
//    Error_Handler();
//  }
//
//  /** Configure for the selected ADC regular channel its corresponding rank in the sequencer and its sample time.
//  */
//  sConfig.Channel = ADC_CHANNEL_10;
//  sConfig.Rank = 6;
//  if (HAL_ADC_ConfigChannel(&hadc1, &sConfig) != HAL_OK)
//  {
//    Error_Handler();
//  }
//
//  /** Configure for the selected ADC regular channel its corresponding rank in the sequencer and its sample time.
//  */
//  sConfig.Channel = ADC_CHANNEL_11;
//  sConfig.Rank = 7;
//  if (HAL_ADC_ConfigChannel(&hadc1, &sConfig) != HAL_OK)
//  {
//    Error_Handler();
//  }
//
//  /** Configure for the selected ADC regular channel its corresponding rank in the sequencer and its sample time.
//  */
//  sConfig.Channel = ADC_CHANNEL_12;
//  sConfig.Rank = 8;
//  if (HAL_ADC_ConfigChannel(&hadc1, &sConfig) != HAL_OK)
//  {
//    Error_Handler();
//  }
//
//  /** Configure for the selected ADC regular channel its corresponding rank in the sequencer and its sample time.
//  */
//  sConfig.Channel = ADC_CHANNEL_13;
//  sConfig.Rank = 9;
//  if (HAL_ADC_ConfigChannel(&hadc1, &sConfig) != HAL_OK)
//  {
//    Error_Handler();
//  }
//
//  /** Configure for the selected ADC regular channel its corresponding rank in the sequencer and its sample time.
//  */
//  sConfig.Channel = ADC_CHANNEL_14;
//  sConfig.Rank = 10;
//  if (HAL_ADC_ConfigChannel(&hadc1, &sConfig) != HAL_OK)
//  {
//    Error_Handler();
//  }
//
//  /** Configure for the selected ADC regular channel its corresponding rank in the sequencer and its sample time.
//  */
//  sConfig.Channel = ADC_CHANNEL_15;
//  sConfig.Rank = 11;
//  if (HAL_ADC_ConfigChannel(&hadc1, &sConfig) != HAL_OK)
//  {
//    Error_Handler();
//  }

}

static void MX_ADC3_Init(void)
{

  ADC_ChannelConfTypeDef sConfig = {0};

  /** Configure the global features of the ADC (Clock, Resolution, Data Alignment and number of conversion)
  */
  hadc3.Instance = ADC3;
  hadc3.Init.ClockPrescaler = ADC_CLOCK_SYNC_PCLK_DIV4;
  hadc3.Init.Resolution = ADC_RESOLUTION_12B;
  hadc3.Init.ScanConvMode = ENABLE;
  hadc3.Init.ContinuousConvMode = ENABLE;
  hadc3.Init.DiscontinuousConvMode = DISABLE;
  hadc3.Init.ExternalTrigConvEdge = ADC_EXTERNALTRIGCONVEDGE_NONE;
  hadc3.Init.ExternalTrigConv = ADC_SOFTWARE_START;
  hadc3.Init.DataAlign = ADC_DATAALIGN_RIGHT;
  hadc3.Init.NbrOfConversion = 6;
  hadc3.Init.DMAContinuousRequests = DISABLE;
  hadc3.Init.EOCSelection = ADC_EOC_SINGLE_CONV;
  if (HAL_ADC_Init(&hadc3) != HAL_OK)
  {
    Error_Handler();
  }
//
//  /** Configure for the selected ADC regular channel its corresponding rank in the sequencer and its sample time.
//  */
//  sConfig.Channel = ADC_CHANNEL_4;
//  sConfig.Rank = 1;
//  sConfig.SamplingTime = ADC_SAMPLETIME_84CYCLES;
//  if (HAL_ADC_ConfigChannel(&hadc3, &sConfig) != HAL_OK)
//  {
//    Error_Handler();
//  }
//
//  /** Configure for the selected ADC regular channel its corresponding rank in the sequencer and its sample time.
//  */
//  sConfig.Channel = ADC_CHANNEL_5;
//  sConfig.Rank = 2;
//  if (HAL_ADC_ConfigChannel(&hadc3, &sConfig) != HAL_OK)
//  {
//    Error_Handler();
//  }
//
//  /** Configure for the selected ADC regular channel its corresponding rank in the sequencer and its sample time.
//  */
//  sConfig.Channel = ADC_CHANNEL_6;
//  sConfig.Rank = 3;
//  if (HAL_ADC_ConfigChannel(&hadc3, &sConfig) != HAL_OK)
//  {
//    Error_Handler();
//  }
//
//  /** Configure for the selected ADC regular channel its corresponding rank in the sequencer and its sample time.
//  */
//  sConfig.Channel = ADC_CHANNEL_7;
//  sConfig.Rank = 4;
//  if (HAL_ADC_ConfigChannel(&hadc3, &sConfig) != HAL_OK)
//  {
//    Error_Handler();
//  }
//
//  /** Configure for the selected ADC regular channel its corresponding rank in the sequencer and its sample time.
//  */
//  sConfig.Channel = ADC_CHANNEL_8;
//  sConfig.Rank = 5;
//  sConfig.SamplingTime = ADC_SAMPLETIME_3CYCLES;
//  if (HAL_ADC_ConfigChannel(&hadc3, &sConfig) != HAL_OK)
//  {
//    Error_Handler();
//  }
//
//  /** Configure for the selected ADC regular channel its corresponding rank in the sequencer and its sample time.
//  */
//  sConfig.Channel = ADC_CHANNEL_9;
//  sConfig.Rank = 6;
//  sConfig.SamplingTime = ADC_SAMPLETIME_84CYCLES;
//  if (HAL_ADC_ConfigChannel(&hadc3, &sConfig) != HAL_OK)
//  {
//    Error_Handler();
//  }

}

static void MX_CAN1_Init(void)
{

  hcan1.Instance = CAN1;
  hcan1.Init.Prescaler = 5;
  hcan1.Init.Mode = CAN_MODE_NORMAL;
  hcan1.Init.SyncJumpWidth = CAN_SJW_1TQ;
  hcan1.Init.TimeSeg1 = CAN_BS1_15TQ;
  hcan1.Init.TimeSeg2 = CAN_BS2_2TQ;
  hcan1.Init.TimeTriggeredMode = DISABLE;
  hcan1.Init.AutoBusOff = ENABLE;
  hcan1.Init.AutoWakeUp = DISABLE;
  hcan1.Init.AutoRetransmission = ENABLE;
  hcan1.Init.ReceiveFifoLocked = DISABLE;
  hcan1.Init.TransmitFifoPriority = DISABLE;
  if (HAL_CAN_Init(&hcan1) != HAL_OK)
  {
    Error_Handler();
  }
  /* USER CODE BEGIN CAN1_Init 2 */

  CAN_FilterTypeDef filter;

      filter.FilterActivation = CAN_FILTER_ENABLE;
      filter.FilterBank = 0;//18;
      filter.FilterFIFOAssignment = CAN_FILTER_FIFO0;
      filter.FilterIdHigh = 0x0000;//0x103<<5;
      filter.FilterIdLow = 0x0000;
      filter.FilterMaskIdHigh = 0x0000;//0x103<<5;
      filter.FilterMaskIdLow = 0x0000;
      filter.FilterMode = CAN_FILTERMODE_IDMASK;
      filter.FilterScale = CAN_FILTERSCALE_32BIT;
      filter.SlaveStartFilterBank = 0;//20;

      if(HAL_CAN_ConfigFilter(&hcan1, &filter) != HAL_OK)
      {
    	  Error_Handler();
      }

  /* USER CODE END CAN1_Init 2 */

}

static void MX_TIM1_Init(void)
{

  TIM_MasterConfigTypeDef sMasterConfig = {0};
  TIM_OC_InitTypeDef sConfigOC = {0};
  TIM_BreakDeadTimeConfigTypeDef sBreakDeadTimeConfig = {0};

  htim1.Instance = TIM1;
  htim1.Init.Prescaler = 0;
  htim1.Init.CounterMode = TIM_COUNTERMODE_UP;
  htim1.Init.Period = 65535;
  htim1.Init.ClockDivision = TIM_CLOCKDIVISION_DIV1;
  htim1.Init.RepetitionCounter = 0;
  htim1.Init.AutoReloadPreload = TIM_AUTORELOAD_PRELOAD_ENABLE;
  if (HAL_TIM_PWM_Init(&htim1) != HAL_OK)
  {
    Error_Handler();
  }
  sMasterConfig.MasterOutputTrigger = TIM_TRGO_RESET;
  sMasterConfig.MasterSlaveMode = TIM_MASTERSLAVEMODE_DISABLE;
  if (HAL_TIMEx_MasterConfigSynchronization(&htim1, &sMasterConfig) != HAL_OK)
  {
    Error_Handler();
  }
  sConfigOC.OCMode = TIM_OCMODE_PWM1;
  sConfigOC.Pulse = 0;
  sConfigOC.OCPolarity = TIM_OCPOLARITY_HIGH;
  sConfigOC.OCNPolarity = TIM_OCNPOLARITY_HIGH;
  sConfigOC.OCFastMode = TIM_OCFAST_DISABLE;
  sConfigOC.OCIdleState = TIM_OCIDLESTATE_RESET;
  sConfigOC.OCNIdleState = TIM_OCNIDLESTATE_RESET;
  if (HAL_TIM_PWM_ConfigChannel(&htim1, &sConfigOC, TIM_CHANNEL_1) != HAL_OK)
  {
    Error_Handler();
  }
  if (HAL_TIM_PWM_ConfigChannel(&htim1, &sConfigOC, TIM_CHANNEL_2) != HAL_OK)
  {
    Error_Handler();
  }
  if (HAL_TIM_PWM_ConfigChannel(&htim1, &sConfigOC, TIM_CHANNEL_3) != HAL_OK)
  {
    Error_Handler();
  }
  if (HAL_TIM_PWM_ConfigChannel(&htim1, &sConfigOC, TIM_CHANNEL_4) != HAL_OK)
  {
    Error_Handler();
  }
  sBreakDeadTimeConfig.OffStateRunMode = TIM_OSSR_DISABLE;
  sBreakDeadTimeConfig.OffStateIDLEMode = TIM_OSSI_DISABLE;
  sBreakDeadTimeConfig.LockLevel = TIM_LOCKLEVEL_OFF;
  sBreakDeadTimeConfig.DeadTime = 0;
  sBreakDeadTimeConfig.BreakState = TIM_BREAK_DISABLE;
  sBreakDeadTimeConfig.BreakPolarity = TIM_BREAKPOLARITY_HIGH;
  sBreakDeadTimeConfig.AutomaticOutput = TIM_AUTOMATICOUTPUT_DISABLE;
  if (HAL_TIMEx_ConfigBreakDeadTime(&htim1, &sBreakDeadTimeConfig) != HAL_OK)
  {
    Error_Handler();
  }
  HAL_TIM_MspPostInit(&htim1);

}

static void MX_TIM3_Init(void)
{

  TIM_MasterConfigTypeDef sMasterConfig = {0};
  TIM_OC_InitTypeDef sConfigOC = {0};

  htim3.Instance = TIM3;
  htim3.Init.Prescaler = 0;
  htim3.Init.CounterMode = TIM_COUNTERMODE_UP;
  htim3.Init.Period = 65535;
  htim3.Init.ClockDivision = TIM_CLOCKDIVISION_DIV1;
  htim3.Init.AutoReloadPreload = TIM_AUTORELOAD_PRELOAD_DISABLE;
  if (HAL_TIM_PWM_Init(&htim3) != HAL_OK)
  {
    Error_Handler();
  }
  sMasterConfig.MasterOutputTrigger = TIM_TRGO_RESET;
  sMasterConfig.MasterSlaveMode = TIM_MASTERSLAVEMODE_DISABLE;
  if (HAL_TIMEx_MasterConfigSynchronization(&htim3, &sMasterConfig) != HAL_OK)
  {
    Error_Handler();
  }
  sConfigOC.OCMode = TIM_OCMODE_PWM1;
  sConfigOC.Pulse = 0;
  sConfigOC.OCPolarity = TIM_OCPOLARITY_HIGH;
  sConfigOC.OCFastMode = TIM_OCFAST_DISABLE;
  if (HAL_TIM_PWM_ConfigChannel(&htim3, &sConfigOC, TIM_CHANNEL_1) != HAL_OK)
  {
    Error_Handler();
  }
  if (HAL_TIM_PWM_ConfigChannel(&htim3, &sConfigOC, TIM_CHANNEL_2) != HAL_OK)
  {
    Error_Handler();
  }
  if (HAL_TIM_PWM_ConfigChannel(&htim3, &sConfigOC, TIM_CHANNEL_3) != HAL_OK)
  {
    Error_Handler();
  }
  if (HAL_TIM_PWM_ConfigChannel(&htim3, &sConfigOC, TIM_CHANNEL_4) != HAL_OK)
  {
    Error_Handler();
  }
  HAL_TIM_MspPostInit(&htim3);

}

static void MX_TIM4_Init(void)
{

  TIM_MasterConfigTypeDef sMasterConfig = {0};
  TIM_OC_InitTypeDef sConfigOC = {0};

  htim4.Instance = TIM4;
  htim4.Init.Prescaler = 0;
  htim4.Init.CounterMode = TIM_COUNTERMODE_UP;
  htim4.Init.Period = 65535;
  htim4.Init.ClockDivision = TIM_CLOCKDIVISION_DIV1;
  htim4.Init.AutoReloadPreload = TIM_AUTORELOAD_PRELOAD_DISABLE;
  if (HAL_TIM_PWM_Init(&htim4) != HAL_OK)
  {
    Error_Handler();
  }
  sMasterConfig.MasterOutputTrigger = TIM_TRGO_RESET;
  sMasterConfig.MasterSlaveMode = TIM_MASTERSLAVEMODE_DISABLE;
  if (HAL_TIMEx_MasterConfigSynchronization(&htim4, &sMasterConfig) != HAL_OK)
  {
    Error_Handler();
  }
  sConfigOC.OCMode = TIM_OCMODE_PWM1;
  sConfigOC.Pulse = 0;
  sConfigOC.OCPolarity = TIM_OCPOLARITY_HIGH;
  sConfigOC.OCFastMode = TIM_OCFAST_DISABLE;
  if (HAL_TIM_PWM_ConfigChannel(&htim4, &sConfigOC, TIM_CHANNEL_1) != HAL_OK)
  {
    Error_Handler();
  }
  if (HAL_TIM_PWM_ConfigChannel(&htim4, &sConfigOC, TIM_CHANNEL_2) != HAL_OK)
  {
    Error_Handler();
  }
  if (HAL_TIM_PWM_ConfigChannel(&htim4, &sConfigOC, TIM_CHANNEL_3) != HAL_OK)
  {
    Error_Handler();
  }
  if (HAL_TIM_PWM_ConfigChannel(&htim4, &sConfigOC, TIM_CHANNEL_4) != HAL_OK)
  {
    Error_Handler();
  }
  HAL_TIM_MspPostInit(&htim4);

}

static void MX_TIM8_Init(void)
{

  TIM_MasterConfigTypeDef sMasterConfig = {0};
  TIM_OC_InitTypeDef sConfigOC = {0};
  TIM_BreakDeadTimeConfigTypeDef sBreakDeadTimeConfig = {0};

  htim8.Instance = TIM8;
  htim8.Init.Prescaler = 0;
  htim8.Init.CounterMode = TIM_COUNTERMODE_UP;
  htim8.Init.Period = 65535;
  htim8.Init.ClockDivision = TIM_CLOCKDIVISION_DIV1;
  htim8.Init.RepetitionCounter = 0;
  htim8.Init.AutoReloadPreload = TIM_AUTORELOAD_PRELOAD_DISABLE;
  if (HAL_TIM_PWM_Init(&htim8) != HAL_OK)
  {
    Error_Handler();
  }
  sMasterConfig.MasterOutputTrigger = TIM_TRGO_RESET;
  sMasterConfig.MasterSlaveMode = TIM_MASTERSLAVEMODE_DISABLE;
  if (HAL_TIMEx_MasterConfigSynchronization(&htim8, &sMasterConfig) != HAL_OK)
  {
    Error_Handler();
  }
  sConfigOC.OCMode = TIM_OCMODE_PWM1;
  sConfigOC.Pulse = 0;
  sConfigOC.OCPolarity = TIM_OCPOLARITY_HIGH;
  sConfigOC.OCNPolarity = TIM_OCNPOLARITY_HIGH;
  sConfigOC.OCFastMode = TIM_OCFAST_DISABLE;
  sConfigOC.OCIdleState = TIM_OCIDLESTATE_RESET;
  sConfigOC.OCNIdleState = TIM_OCNIDLESTATE_RESET;
  if (HAL_TIM_PWM_ConfigChannel(&htim8, &sConfigOC, TIM_CHANNEL_1) != HAL_OK)
  {
    Error_Handler();
  }
  if (HAL_TIM_PWM_ConfigChannel(&htim8, &sConfigOC, TIM_CHANNEL_2) != HAL_OK)
  {
    Error_Handler();
  }
  sBreakDeadTimeConfig.OffStateRunMode = TIM_OSSR_DISABLE;
  sBreakDeadTimeConfig.OffStateIDLEMode = TIM_OSSI_DISABLE;
  sBreakDeadTimeConfig.LockLevel = TIM_LOCKLEVEL_OFF;
  sBreakDeadTimeConfig.DeadTime = 0;
  sBreakDeadTimeConfig.BreakState = TIM_BREAK_DISABLE;
  sBreakDeadTimeConfig.BreakPolarity = TIM_BREAKPOLARITY_HIGH;
  sBreakDeadTimeConfig.AutomaticOutput = TIM_AUTOMATICOUTPUT_DISABLE;
  if (HAL_TIMEx_ConfigBreakDeadTime(&htim8, &sBreakDeadTimeConfig) != HAL_OK)
  {
    Error_Handler();
  }
  HAL_TIM_MspPostInit(&htim8);

}

static void MX_TIM9_Init(void)
{

  TIM_OC_InitTypeDef sConfigOC = {0};

  htim9.Instance = TIM9;
  htim9.Init.Prescaler = 0;
  htim9.Init.CounterMode = TIM_COUNTERMODE_UP;
  htim9.Init.Period = 65535;
  htim9.Init.ClockDivision = TIM_CLOCKDIVISION_DIV1;
  htim9.Init.AutoReloadPreload = TIM_AUTORELOAD_PRELOAD_DISABLE;
  if (HAL_TIM_PWM_Init(&htim9) != HAL_OK)
  {
    Error_Handler();
  }
  sConfigOC.OCMode = TIM_OCMODE_PWM1;
  sConfigOC.Pulse = 0;
  sConfigOC.OCPolarity = TIM_OCPOLARITY_HIGH;
  sConfigOC.OCFastMode = TIM_OCFAST_DISABLE;
  if (HAL_TIM_PWM_ConfigChannel(&htim9, &sConfigOC, TIM_CHANNEL_1) != HAL_OK)
  {
    Error_Handler();
  }
  if (HAL_TIM_PWM_ConfigChannel(&htim9, &sConfigOC, TIM_CHANNEL_2) != HAL_OK)
  {
    Error_Handler();
  }
  HAL_TIM_MspPostInit(&htim9);

}

static void MX_TIM12_Init(void)
{

  TIM_OC_InitTypeDef sConfigOC = {0};

  htim12.Instance = TIM12;
  htim12.Init.Prescaler = 0;
  htim12.Init.CounterMode = TIM_COUNTERMODE_UP;
  htim12.Init.Period = 65535;
  htim12.Init.ClockDivision = TIM_CLOCKDIVISION_DIV1;
  htim12.Init.AutoReloadPreload = TIM_AUTORELOAD_PRELOAD_DISABLE;
  if (HAL_TIM_PWM_Init(&htim12) != HAL_OK)
  {
    Error_Handler();
  }
  sConfigOC.OCMode = TIM_OCMODE_PWM1;
  sConfigOC.Pulse = 0;
  sConfigOC.OCPolarity = TIM_OCPOLARITY_HIGH;
  sConfigOC.OCFastMode = TIM_OCFAST_DISABLE;
  if (HAL_TIM_PWM_ConfigChannel(&htim12, &sConfigOC, TIM_CHANNEL_2) != HAL_OK)
  {
    Error_Handler();
  }
  HAL_TIM_MspPostInit(&htim12);

}

static void MX_GPIO_Init(void)
{
  GPIO_InitTypeDef GPIO_InitStruct = {0};

  /* GPIO Ports Clock Enable */
  __HAL_RCC_GPIOE_CLK_ENABLE();
  __HAL_RCC_GPIOC_CLK_ENABLE();
  __HAL_RCC_GPIOF_CLK_ENABLE();
  __HAL_RCC_GPIOH_CLK_ENABLE();
  __HAL_RCC_GPIOA_CLK_ENABLE();
  __HAL_RCC_GPIOB_CLK_ENABLE();
  __HAL_RCC_GPIOD_CLK_ENABLE();
  __HAL_RCC_GPIOG_CLK_ENABLE();

  /*Configure GPIO pin Output Level */
  HAL_GPIO_WritePin(GPIOB, LD1_Pin|LD3_Pin|LD2_Pin, GPIO_PIN_RESET);

  /*Configure GPIO pin Output Level */
  HAL_GPIO_WritePin(GPIOG, GPIO_PIN_6, GPIO_PIN_RESET);

  /*Configure GPIO pin : USER_Btn_Pin */
  GPIO_InitStruct.Pin = USER_Btn_Pin;
  GPIO_InitStruct.Mode = GPIO_MODE_IT_RISING;
  GPIO_InitStruct.Pull = GPIO_NOPULL;
  HAL_GPIO_Init(USER_Btn_GPIO_Port, &GPIO_InitStruct);

  /*Configure GPIO pins : LD1_Pin LD3_Pin LD2_Pin */
  GPIO_InitStruct.Pin = LD1_Pin|LD3_Pin|LD2_Pin;
  GPIO_InitStruct.Mode = GPIO_MODE_OUTPUT_PP;
  GPIO_InitStruct.Pull = GPIO_NOPULL;
  GPIO_InitStruct.Speed = GPIO_SPEED_FREQ_LOW;
  HAL_GPIO_Init(GPIOB, &GPIO_InitStruct);

  /*Configure GPIO pins : STLK_RX_Pin STLK_TX_Pin */
  GPIO_InitStruct.Pin = STLK_RX_Pin|STLK_TX_Pin;
  GPIO_InitStruct.Mode = GPIO_MODE_AF_PP;
  GPIO_InitStruct.Pull = GPIO_NOPULL;
  GPIO_InitStruct.Speed = GPIO_SPEED_FREQ_VERY_HIGH;
  GPIO_InitStruct.Alternate = GPIO_AF7_USART3;
  HAL_GPIO_Init(GPIOD, &GPIO_InitStruct);

  /*Configure GPIO pin : PG6 */
  GPIO_InitStruct.Pin = GPIO_PIN_6;
  GPIO_InitStruct.Mode = GPIO_MODE_OUTPUT_PP;
  GPIO_InitStruct.Pull = GPIO_NOPULL;
  GPIO_InitStruct.Speed = GPIO_SPEED_FREQ_LOW;
  HAL_GPIO_Init(GPIOG, &GPIO_InitStruct);

  /*Configure GPIO pin : USB_OverCurrent_Pin */
  GPIO_InitStruct.Pin = USB_OverCurrent_Pin;
  GPIO_InitStruct.Mode = GPIO_MODE_INPUT;
  GPIO_InitStruct.Pull = GPIO_NOPULL;
  HAL_GPIO_Init(USB_OverCurrent_GPIO_Port, &GPIO_InitStruct);

  /*Configure GPIO pins : USB_SOF_Pin USB_ID_Pin USB_DM_Pin USB_DP_Pin */
  GPIO_InitStruct.Pin = USB_SOF_Pin|USB_ID_Pin|USB_DM_Pin|USB_DP_Pin;
  GPIO_InitStruct.Mode = GPIO_MODE_AF_PP;
  GPIO_InitStruct.Pull = GPIO_NOPULL;
  GPIO_InitStruct.Speed = GPIO_SPEED_FREQ_VERY_HIGH;
  GPIO_InitStruct.Alternate = GPIO_AF10_OTG_FS;
  HAL_GPIO_Init(GPIOA, &GPIO_InitStruct);

  /*Configure GPIO pin : USB_VBUS_Pin */
  GPIO_InitStruct.Pin = USB_VBUS_Pin;
  GPIO_InitStruct.Mode = GPIO_MODE_INPUT;
  GPIO_InitStruct.Pull = GPIO_NOPULL;
  HAL_GPIO_Init(USB_VBUS_GPIO_Port, &GPIO_InitStruct);

  /* EXTI interrupt init*/
  HAL_NVIC_SetPriority(EXTI15_10_IRQn, 0, 0);
  HAL_NVIC_EnableIRQ(EXTI15_10_IRQn);

}

void HAL_TIM_PeriodElapsedCallback(TIM_HandleTypeDef *htim)
{
  if (htim->Instance == TIM5) {
    HAL_IncTick();
  }
}

void Error_Handler(void)
{
  __disable_irq();
  while (1)
  {
  }
}
